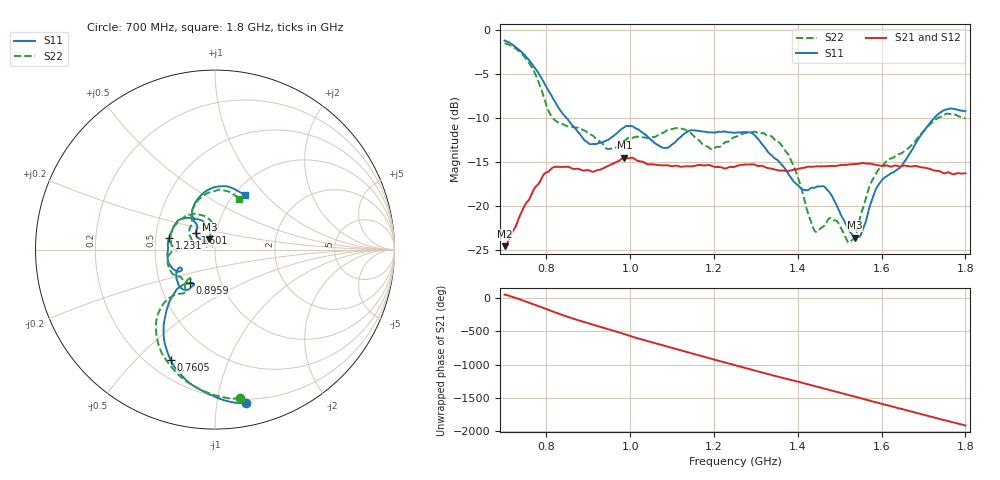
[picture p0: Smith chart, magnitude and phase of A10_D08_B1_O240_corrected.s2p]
! Created with skrf 1.9.0 (http://scikit-rf.org).
# Hz S RI R 50.0
!freq ReS11 ImS11 ReS21 ImS21 ReS12 ImS12 ReS22 ImS22
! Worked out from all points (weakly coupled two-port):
!   1601 points, 700 MHz to 1.8 GHz, reference 50 ohm
!   highest |S21| = -14.51 dB at 986 MHz (marker M1); lowest = -24.6 dB at 700 MHz (marker M2)
!   lowest |S11| = -23.6 dB at 1.536 GHz (marker M3), VSWR 1.14, Z = 46.7 + j5.49 ohm
!   |S11| at or under -10 dB: 848.4 MHz to 1.725 GHz (877.1 MHz wide, 68.2 % of centre)
!   |S22| runs from -24.2 to -1.5 dB; largest |S21 - S12| = 0.0037
!   S11 on the Smith chart (normalised r, x): 700 MHz: 0.17, -1.21; 760.5 MHz: 0.29, -0.64; 895.9 MHz: 0.71, -0.28; 1.231 GHz: 0.59, +0.08; 1.601 GHz: 0.79, +0.15; 1.8 GHz: 1.11, +0.77
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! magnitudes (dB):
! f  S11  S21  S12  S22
! 700 MHz  -1.2  -24.6  -24.4  -1.5
! 760.5 MHz  -3.6  -19.1  -19.0  -3.9
! 814.8 MHz  -7.7  -15.6  -15.7  -10.0
! 883.6 MHz  -12.1  -15.9  -15.8  -11.3
! 895.9 MHz  -12.7  -15.9  -16.0  -11.6
! 946.8 MHz  -12.5  -15.5  -15.5  -13.5
! 986 MHz  -11.0  -14.5  -14.6  -12.6
! 1.067 GHz  -13.1  -15.4  -15.3  -11.9
! 1.231 GHz  -11.6  -15.7  -15.6  -12.7
! 1.25 GHz  -11.7  -15.5  -15.5  -12.2
! 1.292 GHz  -11.7  -15.3  -15.3  -11.6
! 1.359 GHz  -15.2  -16.0  -16.0  -12.9
! 1.394 GHz  -17.4  -15.9  -15.8  -15.9
! 1.434 GHz  -17.9  -15.6  -15.5  -22.1
! 1.471 GHz  -18.2  -15.5  -15.5  -21.7
! 1.536 GHz  -23.6  -15.2  -15.2  -23.6
! 1.551 GHz  -23.2  -15.1  -15.2  -20.9
! 1.572 GHz  -20.0  -15.2  -15.2  -17.7
! 1.601 GHz  -17.0  -15.4  -15.4  -15.5
! 1.617 GHz  -16.5  -15.5  -15.4  -14.7
! 1.735 GHz  -9.5  -16.0  -16.1  -10.0
! 1.8 GHz  -9.2  -16.3  -16.3  -10.0
